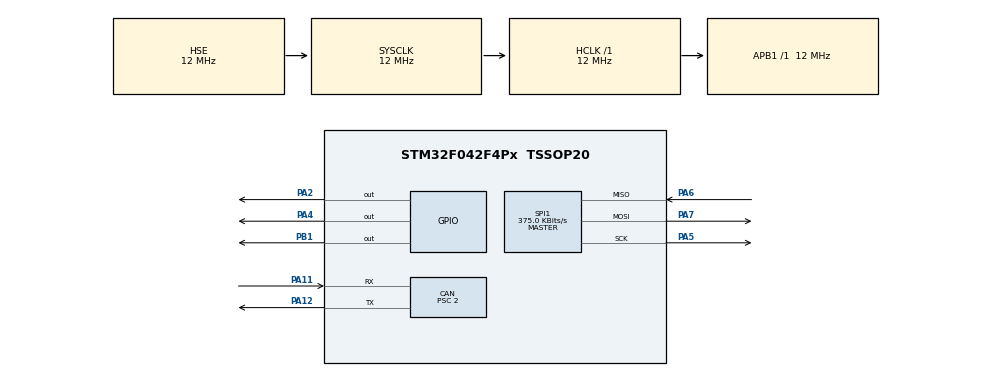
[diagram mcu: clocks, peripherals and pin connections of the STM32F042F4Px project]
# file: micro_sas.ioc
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CAN.BS1=CAN_BS1_10TQ
CAN.CalculateBaudRate=500000
CAN.CalculateTimeBit=2000
CAN.CalculateTimeQuantum=166.66666666666666
CAN.NART=ENABLE
CAN.Prescaler=2
Mcu.Family=STM32F0
Mcu.Name=STM32F042F4Px
Mcu.Package=TSSOP20
PA11.Mode=CAN_Activate
PA11.Signal=CAN_RX
PA12.Mode=CAN_Activate
PA12.Signal=CAN_TX
PA13.Mode=Serial_Wire
PA13.Signal=SYS_SWDIO
PA14.Mode=Serial_Wire
PA14.Signal=SYS_SWCLK
PA2.Signal=GPIO_Output
PA4.GPIO_Speed=GPIO_SPEED_FREQ_HIGH
PA4.PinState=GPIO_PIN_SET
PA4.Signal=GPIO_Output
PA5.Mode=Full_Duplex_Master
PA5.Signal=SPI1_SCK
PA6.Mode=Full_Duplex_Master
PA6.Signal=SPI1_MISO
PA7.Mode=Full_Duplex_Master
PA7.Signal=SPI1_MOSI
PB1.Signal=GPIO_Output
PF0-OSC_IN.Mode=HSE-External-Oscillator
PF0-OSC_IN.Signal=RCC_OSC_IN
PF1-OSC_OUT.Mode=HSE-External-Oscillator
PF1-OSC_OUT.Signal=RCC_OSC_OUT
ProjectManager.HeapSize=0x200
ProjectManager.StackSize=0x400
ProjectManager.TargetToolchain=STM32CubeIDE
RCC.AHBFreq_Value=12000000
RCC.APB1Freq_Value=12000000
RCC.APB1TimFreq_Value=12000000
RCC.HCLKFreq_Value=12000000
RCC.HSE_VALUE=12000000
RCC.PLLSourceVirtual=RCC_PLLSOURCE_HSE
RCC.SYSCLKFreq_VALUE=12000000
RCC.SYSCLKSource=RCC_SYSCLKSOURCE_HSE
SPI1.BaudRatePrescaler=SPI_BAUDRATEPRESCALER_32
SPI1.CLKPhase=SPI_PHASE_2EDGE
SPI1.CLKPolarity=SPI_POLARITY_LOW
SPI1.CalculateBaudRate=375.0 KBits/s
SPI1.DataSize=SPI_DATASIZE_16BIT
SPI1.Direction=SPI_DIRECTION_2LINES
SPI1.Mode=SPI_MODE_MASTER
SPI1.VirtualType=VM_MASTER
VP_SYS_VS_PINREMAP.Mode=PINREMAP
board=custom

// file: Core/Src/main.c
/* USER CODE BEGIN Header */
/**
  ******************************************************************************
  * @file           : main.c
  * @brief          : Main program body
  ******************************************************************************
  * @attention
  *
  * Copyright (c) 2022 STMicroelectronics.
  * All rights reserved.
  *
  * This software is licensed under terms that can be found in the LICENSE file
  * in the root directory of this software component.
  * If no LICENSE file comes with this software, it is provided AS-IS.
  *
  ******************************************************************************
  */
/* USER CODE END Header */
#include "main.h"

/* USER CODE BEGIN PTD */
#define ENABLE_CAN_TRANSCEIVER() HAL_GPIO_WritePin(GPIOB, GPIO_PIN_1, GPIO_PIN_RESET)
#define LED_OFF() HAL_GPIO_WritePin(GPIOA, GPIO_PIN_2, GPIO_PIN_RESET)
#define LED_ON() HAL_GPIO_WritePin(GPIOA, GPIO_PIN_2, GPIO_PIN_SET)

#define SET_ERROR(n) errors |= 1UL << n;
#define CLEAR_ERROR(n) errors &= ~(1UL << n);

#define ABS(x) ((x) > 0 ? (x) : -(x))

#define __AS5048A2_CS_ENABLE() HAL_GPIO_WritePin(GPIOA, GPIO_PIN_4, GPIO_PIN_RESET)
#define __AS5048A2_CS_DISABLE() HAL_GPIO_WritePin(GPIOA, GPIO_PIN_4, GPIO_PIN_SET)

#define __Read_NOP 0xc000
#define __Read_Clear_Error_Flag 0x4001
#define __Read_Angle 0xffff
/* USER CODE END PTD */

 CAN_HandleTypeDef hcan;

SPI_HandleTypeDef hspi1;

void SystemClock_Config(void);
static void MX_GPIO_Init(void);
static void MX_SPI1_Init(void);
static void MX_CAN_Init(void);
/* USER CODE BEGIN PFP */

uint16_t getRawRotation(void);
uint32_t sendCAN(uint16_t id, uint8_t buffer[], uint8_t len);
uint32_t getRX0Count();
uint32_t getRX1Count();
void readCAN();

/* USER CODE END PFP */

/* USER CODE BEGIN 0 */
uint8_t errors = 0;

CAN_FilterTypeDef     canfil;
CAN_TxHeaderTypeDef   txHeader;
CAN_RxHeaderTypeDef   rxHeader;
uint8_t               rxBuffer[8];
uint32_t              txMailbox;

uint16_t zeroPos = 0;
uint32_t currentAngle = 0;
uint32_t lastAngle = 0;
uint8_t isNegative = 0;
uint8_t on = 0;

uint16_t SPI_TX_DATA[4] = {__Read_Clear_Error_Flag, __Read_NOP, __Read_Angle, __Read_NOP};
uint16_t SPI_RX_DATA[4] = {0};

const uint8_t op_num = 4;
uint16_t origin_value = 0;
uint8_t i;

uint8_t TXD[4] = {0x55, 0xAA, 0x00, 0x00};
uint16_t post_process_value = 0;

/* USER CODE END 0 */

int main(void)
{

  /* MCU Configuration--------------------------------------------------------*/

  /* Reset of all peripherals, Initializes the Flash interface and the Systick. */
  HAL_Init();

  /* Configure the system clock */
  SystemClock_Config();

  /* Initialize all configured peripherals */
  MX_GPIO_Init();
  MX_SPI1_Init();
  MX_CAN_Init();
  /* USER CODE BEGIN 2 */
  ENABLE_CAN_TRANSCEIVER();

  LED_OFF();
  if (HAL_CAN_Start(&hcan) != HAL_OK) {
	  LED_ON();
  }

  zeroPos = getRawRotation();
  /* USER CODE END 2 */

  /* Infinite loop */
  /* USER CODE BEGIN WHILE */
  while (1) {
	  readCAN();

	  uint16_t rawAngle = getRawRotation();
	  int angleDelta = ABS(rawAngle - lastAngle);
	  if (angleDelta > 10000) { // wrapped around
		  // steering wheel turning right = rawAngle decreasing due to my mount
		  if (rawAngle > lastAngle) { // turning right
			  currentAngle -= 16383;
		  } else {
			  currentAngle += 16383;
		  }
	  }
	  int computedAngle = rawAngle + currentAngle - zeroPos;
	  if (computedAngle > 49149 || computedAngle < -49149) { // check sane (3 full rotations)
		  SET_ERROR(2);
	  } else {
		  CLEAR_ERROR(2);
	  }

	  uint8_t txBuffer[] = {(computedAngle >> 24) & 0xFF,
			  (computedAngle >> 16) & 0xFF, (computedAngle >> 8) & 0xFF, computedAngle & 0xFF,
			  0x00, 0x00, (rawAngle & 0xFF00) >> 8, rawAngle & 0x00FF};
	  sendCAN(0x23, txBuffer, 8); // steering angle message

	  uint8_t errBuffer[1] = {errors};
	  sendCAN(0x699, errBuffer, 1); // error flags

	  lastAngle = rawAngle;
	  HAL_Delay(10);
    /* USER CODE END WHILE */

  }
}

void SystemClock_Config(void)
{
  RCC_OscInitTypeDef RCC_OscInitStruct = {0};
  RCC_ClkInitTypeDef RCC_ClkInitStruct = {0};

  /** Initializes the RCC Oscillators according to the specified parameters
  * in the RCC_OscInitTypeDef structure.
  */
  RCC_OscInitStruct.OscillatorType = RCC_OSCILLATORTYPE_HSE;
  RCC_OscInitStruct.HSEState = RCC_HSE_ON;
  RCC_OscInitStruct.PLL.PLLState = RCC_PLL_NONE;
  if (HAL_RCC_OscConfig(&RCC_OscInitStruct) != HAL_OK)
  {
    Error_Handler();
  }

  /** Initializes the CPU, AHB and APB buses clocks
  */
  RCC_ClkInitStruct.ClockType = RCC_CLOCKTYPE_HCLK|RCC_CLOCKTYPE_SYSCLK
                              |RCC_CLOCKTYPE_PCLK1;
  RCC_ClkInitStruct.SYSCLKSource = RCC_SYSCLKSOURCE_HSE;
  RCC_ClkInitStruct.AHBCLKDivider = RCC_SYSCLK_DIV1;
  RCC_ClkInitStruct.APB1CLKDivider = RCC_HCLK_DIV1;

  if (HAL_RCC_ClockConfig(&RCC_ClkInitStruct, FLASH_LATENCY_0) != HAL_OK)
  {
    Error_Handler();
  }
}

static void MX_CAN_Init(void)
{

  hcan.Instance = CAN;
  hcan.Init.Prescaler = 2;
  hcan.Init.Mode = CAN_MODE_NORMAL;
  hcan.Init.SyncJumpWidth = CAN_SJW_1TQ;
  hcan.Init.TimeSeg1 = CAN_BS1_10TQ;
  hcan.Init.TimeSeg2 = CAN_BS2_1TQ;
  hcan.Init.TimeTriggeredMode = DISABLE;
  hcan.Init.AutoBusOff = DISABLE;
  hcan.Init.AutoWakeUp = DISABLE;
  hcan.Init.AutoRetransmission = ENABLE;
  hcan.Init.ReceiveFifoLocked = DISABLE;
  hcan.Init.TransmitFifoPriority = DISABLE;
  if (HAL_CAN_Init(&hcan) != HAL_OK)
  {
    Error_Handler();
  }
  /* USER CODE BEGIN CAN_Init 2 */
  canfil.FilterMode = CAN_FILTERMODE_IDMASK;
  canfil.FilterScale = CAN_FILTERSCALE_32BIT;
  canfil.FilterIdHigh = 0x0000;
  canfil.FilterIdLow = 0x0000;
  canfil.FilterMaskIdHigh = 0x0000;
  canfil.FilterMaskIdLow = 0x0000;
  canfil.FilterFIFOAssignment = 0;
  canfil.FilterActivation = ENABLE;
  HAL_CAN_ConfigFilter(&hcan, &canfil);
  /* USER CODE END CAN_Init 2 */

}

static void MX_SPI1_Init(void)
{

  /* SPI1 parameter configuration*/
  hspi1.Instance = SPI1;
  hspi1.Init.Mode = SPI_MODE_MASTER;
  hspi1.Init.Direction = SPI_DIRECTION_2LINES;
  hspi1.Init.DataSize = SPI_DATASIZE_16BIT;
  hspi1.Init.CLKPolarity = SPI_POLARITY_LOW;
  hspi1.Init.CLKPhase = SPI_PHASE_2EDGE;
  hspi1.Init.NSS = SPI_NSS_SOFT;
  hspi1.Init.BaudRatePrescaler = SPI_BAUDRATEPRESCALER_32;
  hspi1.Init.FirstBit = SPI_FIRSTBIT_MSB;
  hspi1.Init.TIMode = SPI_TIMODE_DISABLE;
  hspi1.Init.CRCCalculation = SPI_CRCCALCULATION_DISABLE;
  hspi1.Init.CRCPolynomial = 7;
  hspi1.Init.CRCLength = SPI_CRC_LENGTH_DATASIZE;
  hspi1.Init.NSSPMode = SPI_NSS_PULSE_DISABLE;
  if (HAL_SPI_Init(&hspi1) != HAL_OK)
  {
    Error_Handler();
  }

}

static void MX_GPIO_Init(void)
{
  GPIO_InitTypeDef GPIO_InitStruct = {0};

  /* GPIO Ports Clock Enable */
  __HAL_RCC_GPIOF_CLK_ENABLE();
  __HAL_RCC_GPIOA_CLK_ENABLE();
  __HAL_RCC_GPIOB_CLK_ENABLE();

  /*Configure GPIO pin Output Level */
  HAL_GPIO_WritePin(GPIOA, GPIO_PIN_2, GPIO_PIN_RESET);

  /*Configure GPIO pin Output Level */
  HAL_GPIO_WritePin(GPIOA, GPIO_PIN_4, GPIO_PIN_SET);

  /*Configure GPIO pin Output Level */
  HAL_GPIO_WritePin(GPIOB, GPIO_PIN_1, GPIO_PIN_RESET);

  /*Configure GPIO pin : PA2 */
  GPIO_InitStruct.Pin = GPIO_PIN_2;
  GPIO_InitStruct.Mode = GPIO_MODE_OUTPUT_PP;
  GPIO_InitStruct.Pull = GPIO_NOPULL;
  GPIO_InitStruct.Speed = GPIO_SPEED_FREQ_LOW;
  HAL_GPIO_Init(GPIOA, &GPIO_InitStruct);

  /*Configure GPIO pin : PA4 */
  GPIO_InitStruct.Pin = GPIO_PIN_4;
  GPIO_InitStruct.Mode = GPIO_MODE_OUTPUT_PP;
  GPIO_InitStruct.Pull = GPIO_NOPULL;
  GPIO_InitStruct.Speed = GPIO_SPEED_FREQ_HIGH;
  HAL_GPIO_Init(GPIOA, &GPIO_InitStruct);

  /*Configure GPIO pin : PB1 */
  GPIO_InitStruct.Pin = GPIO_PIN_1;
  GPIO_InitStruct.Mode = GPIO_MODE_OUTPUT_PP;
  GPIO_InitStruct.Pull = GPIO_NOPULL;
  GPIO_InitStruct.Speed = GPIO_SPEED_FREQ_LOW;
  HAL_GPIO_Init(GPIOB, &GPIO_InitStruct);

}

/* USER CODE BEGIN 4 */

uint16_t getRawRotation() {
	for (i = 0; i < op_num; i++) {
		__AS5048A2_CS_ENABLE();
		HAL_SPI_TransmitReceive(&hspi1, &SPI_TX_DATA[i], (uint8_t*) &SPI_RX_DATA[i], 1, 2710);
		__AS5048A2_CS_DISABLE();
	}
	return SPI_RX_DATA[3] & 0x3fff;
}

uint32_t sendCAN(uint16_t id, uint8_t buffer[], uint8_t len) {
	CAN_TxHeaderTypeDef header;

	header.IDE = CAN_ID_STD;
	header.RTR = CAN_RTR_DATA;
	header.TransmitGlobalTime = DISABLE;
	header.DLC = len;
	header.StdId = id;

	uint32_t mailbox;

	if (HAL_CAN_GetTxMailboxesFreeLevel(&hcan) > 0) {
		uint8_t res = HAL_CAN_AddTxMessage(&hcan, &header, buffer, &mailbox);
		if (res != HAL_OK) {
			SET_ERROR(0);
			LED_ON();
		} else {
			CLEAR_ERROR(0);
			LED_OFF();
		}
	} else {
		if (HAL_CAN_IsTxMessagePending(&hcan, txMailbox)) {
			SET_ERROR(1);
			LED_ON();
		}
	}

	return mailbox;
}

uint32_t getRX0Count() {
	return HAL_CAN_GetRxFifoFillLevel(&hcan, CAN_RX_FIFO0);
}

uint32_t getRX1Count() {
	return HAL_CAN_GetRxFifoFillLevel(&hcan, CAN_RX_FIFO1);
}

void readCAN() {
	if (getRX0Count() > 0) {
		CAN_RxHeaderTypeDef tmp;
		uint8_t data[8];
		HAL_CAN_GetRxMessage(&hcan, CAN_RX_FIFO0, &tmp, data);
	}
	if (getRX1Count() > 0) {
		CAN_RxHeaderTypeDef tmp;
		uint8_t data[8];
		HAL_CAN_GetRxMessage(&hcan, CAN_RX_FIFO0, &tmp, data);
	}
}

/* USER CODE END 4 */

void Error_Handler(void)
{
  __disable_irq();
  while (1)
  {
  }
}
